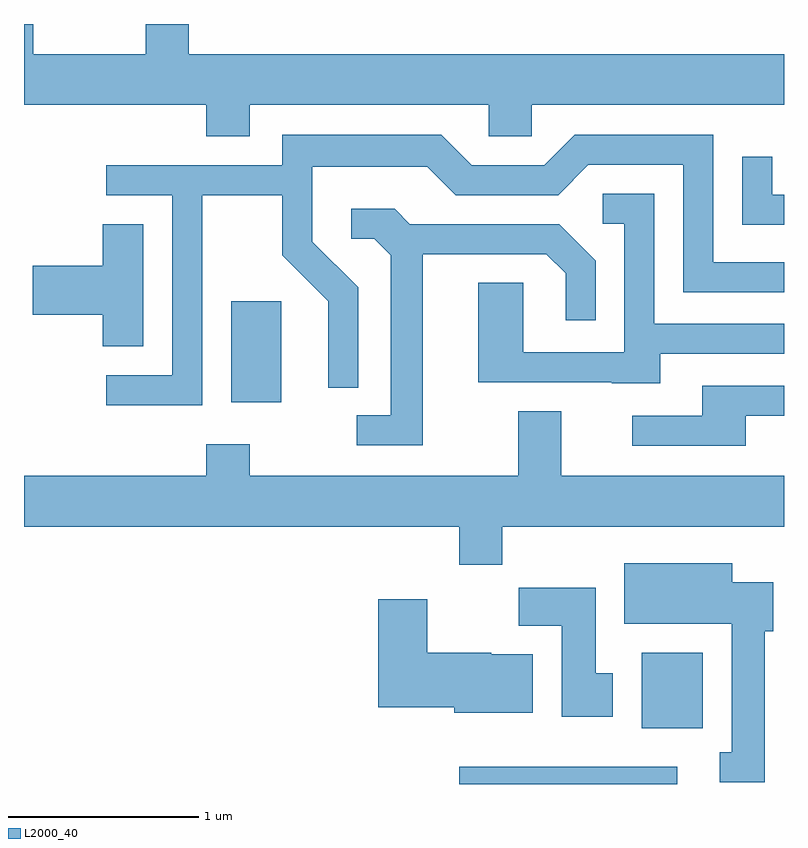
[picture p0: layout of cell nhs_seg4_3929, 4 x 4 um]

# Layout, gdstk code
import gdstk
lib = gdstk.Library(unit=1e-6, precision=1e-09)
def R(c, l, rs):  # rectangles x0, y0, x1, y1
    for r in rs: c.add(gdstk.rectangle(r[:2], r[2:], *l))
def P(c, l, *ps):  # polygons
    for p in ps: c.add(gdstk.Polygon(p, *l))
L2000_40 = (2000, 40)

nhs_seg4_3929 = lib.new_cell('nhs_seg4_3929')
R(nhs_seg4_3929, L2000_40, [(301.901,1359.982,303.049,1360.074), (302.861,1360.276,303.184,1360.674), (300.701,1361.991,300.964,1362.524)])
P(nhs_seg4_3929, L2000_40, [(300.799,1363.556),(302.056,1363.556),(302.056,1363.391),(302.284,1363.391),(302.284,1363.556),(303.611,1363.556),(303.611,1363.824),(300.479,1363.824),(300.479,1363.982),(300.251,1363.982),(300.251,1363.824),(299.659,1363.824),(299.659,1363.982),(299.611,1363.982),(299.611,1363.556),(300.571,1363.556),(300.571,1363.391),(300.799,1363.391)],
  [(300.549,1363.081),(300.971,1363.081),(300.971,1362.764),(301.211,1362.524),(301.211,1362.068),(301.369,1362.068),(301.369,1362.597),(301.129,1362.837),(301.129,1363.231),(301.734,1363.231),(301.884,1363.081),(302.422,1363.081),(302.582,1363.241),(303.081,1363.241),(303.081,1362.571),(303.611,1362.571),(303.611,1362.729),(303.239,1362.729),(303.239,1363.399),(302.509,1363.399),(302.349,1363.239),(301.967,1363.239),(301.807,1363.399),(300.971,1363.399),(300.971,1363.239),(300.043,1363.239),(300.043,1363.081),(300.391,1363.081),(300.391,1362.134),(300.043,1362.134),(300.043,1361.976),(300.549,1361.976)],
  [(303.611,1363.084),(303.549,1363.084),(303.549,1363.283),(303.391,1363.283),(303.391,1362.926),(303.611,1362.926)],
  [(302.959,1362.246),(303.611,1362.246),(303.611,1362.404),(302.929,1362.404),(302.929,1363.089),(302.658,1363.089),(302.658,1362.931),(302.771,1362.931),(302.771,1362.254),(302.239,1362.254),(302.239,1362.619),(302.001,1362.619),(302.001,1362.096),(302.705,1362.096),(302.705,1362.091),(302.959,1362.091)],
  [(301.709,1362.771),(302.359,1362.771),(302.461,1362.669),(302.461,1362.423),(302.619,1362.423),(302.619,1362.737),(302.427,1362.929),(301.642,1362.929),(301.562,1363.009),(301.333,1363.009),(301.333,1362.851),(301.454,1362.851),(301.541,1362.764),(301.541,1361.924),(301.363,1361.924),(301.363,1361.766),(301.709,1361.766)],
  [(300.239,1362.929),(300.026,1362.929),(300.026,1362.709),(299.656,1362.709),(299.656,1362.451),(300.026,1362.451),(300.026,1362.286),(300.239,1362.286)],
  [(303.409,1361.921),(303.611,1361.921),(303.611,1362.079),(303.181,1362.079),(303.181,1361.919),(302.813,1361.919),(302.813,1361.761),(303.409,1361.761)],
  [(302.129,1361.336),(303.611,1361.336),(303.611,1361.604),(302.439,1361.604),(302.439,1361.944),(302.211,1361.944),(302.211,1361.604),(300.799,1361.604),(300.799,1361.769),(300.571,1361.769),(300.571,1361.604),(299.611,1361.604),(299.611,1361.336),(301.901,1361.336),(301.901,1361.136),(302.129,1361.136)],
  [(303.509,1360.786),(303.554,1360.786),(303.554,1361.044),(303.339,1361.044),(303.339,1361.144),(302.771,1361.144),(302.771,1360.826),(303.336,1360.826),(303.336,1360.149),(303.273,1360.149),(303.273,1359.991),(303.509,1359.991)],
  [(302.709,1360.564),(302.619,1360.564),(302.619,1361.014),(302.216,1361.014),(302.216,1360.816),(302.441,1360.816),(302.441,1360.336),(302.709,1360.336)],
  [(302.289,1360.664),(302.07,1360.664),(302.07,1360.674),(301.734,1360.674),(301.734,1360.954),(301.476,1360.954),(301.476,1360.386),(301.876,1360.386),(301.876,1360.356),(302.289,1360.356)])

lib.write_gds('nhs_seg4_3929.gds')
